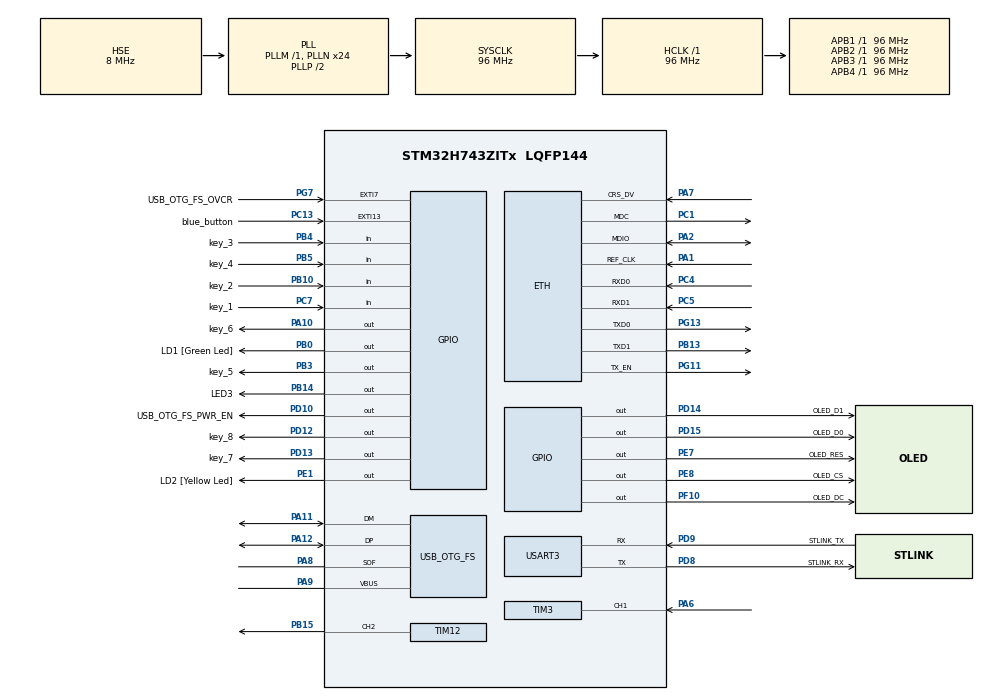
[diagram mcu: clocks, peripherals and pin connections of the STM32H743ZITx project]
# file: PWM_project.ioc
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ETH.MediaInterface=HAL_ETH_RMII_MODE
Mcu.Family=STM32H7
Mcu.Name=STM32H743ZITx
Mcu.Package=LQFP144
NVIC.EXTI15_10_IRQn=true\:0\:0\:false\:false\:true\:true\:true
NVIC.PriorityGroup=NVIC_PRIORITYGROUP_4
NVIC.TIM3_IRQn=true\:0\:0\:true\:false\:true\:true\:true
NVIC.TIM8_UP_TIM13_IRQn=true\:0\:0\:false\:false\:true\:true\:true
PA1.Mode=RMII
PA1.Signal=ETH_REF_CLK
PA10.GPIO_Label=key_6
PA10.Signal=GPIO_Output
PA11.Mode=Device_Only
PA11.Signal=USB_OTG_FS_DM
PA12.Mode=Device_Only
PA12.Signal=USB_OTG_FS_DP
PA2.Mode=RMII
PA2.Signal=ETH_MDIO
PA6.Signal=S_TIM3_CH1
PA7.Mode=RMII
PA7.Signal=ETH_CRS_DV
PA8.Mode=Activate_SOF_FS
PA8.Signal=USB_OTG_FS_SOF
PA9.Mode=Activate_VBUS
PA9.Signal=USB_OTG_FS_VBUS
PB0.GPIO_Label=LD1 [Green Led]
PB0.Signal=GPIO_Output
PB10.GPIO_Label=key_2
PB10.GPIO_PuPd=GPIO_PULLUP
PB10.Signal=GPIO_Input
PB13.Mode=RMII
PB13.Signal=ETH_TXD1
PB14.GPIO_Label=LED3
PB14.Signal=GPIO_Output
PB15.Signal=S_TIM12_CH2
PB3\ (JTDO/TRACESWO).GPIO_Label=key_5
PB3\ (JTDO/TRACESWO).Signal=GPIO_Output
PB4\ (NJTRST).GPIO_Label=key_3
PB4\ (NJTRST).GPIO_PuPd=GPIO_PULLUP
PB4\ (NJTRST).Signal=GPIO_Input
PB5.GPIO_Label=key_4
PB5.GPIO_PuPd=GPIO_PULLUP
PB5.Signal=GPIO_Input
PC1.Mode=RMII
PC1.Signal=ETH_MDC
PC13.GPIO_Label=blue_button
PC13.GPIO_PuPd=GPIO_PULLDOWN
PC13.Signal=GPXTI13
PC14-OSC32_IN\ (OSC32_IN).Mode=LSE-External-Oscillator
PC14-OSC32_IN\ (OSC32_IN).Signal=RCC_OSC32_IN
PC15-OSC32_OUT\ (OSC32_OUT).Mode=LSE-External-Oscillator
PC15-OSC32_OUT\ (OSC32_OUT).Signal=RCC_OSC32_OUT
PC4.Mode=RMII
PC4.Signal=ETH_RXD0
PC5.Mode=RMII
PC5.Signal=ETH_RXD1
PC7.GPIO_Label=key_1
PC7.GPIO_PuPd=GPIO_PULLUP
PC7.Signal=GPIO_Input
PD10.GPIO_Label=USB_OTG_FS_PWR_EN
PD10.Signal=GPIO_Output
PD12.GPIO_Label=key_8
PD12.Signal=GPIO_Output
PD13.GPIO_Label=key_7
PD13.Signal=GPIO_Output
PD14.GPIO_Label=OLED_D1
PD14.GPIO_Speed=GPIO_SPEED_FREQ_HIGH
PD14.PinState=GPIO_PIN_SET
PD14.Signal=GPIO_Output
PD15.GPIO_Label=OLED_D0
PD15.GPIO_Speed=GPIO_SPEED_FREQ_HIGH
PD15.PinState=GPIO_PIN_SET
PD15.Signal=GPIO_Output
PD8.GPIO_Label=STLINK_RX
PD8.Mode=Asynchronous
PD8.Signal=USART3_TX
PD9.GPIO_Label=STLINK_TX
PD9.Mode=Asynchronous
PD9.Signal=USART3_RX
PE1.GPIO_Label=LD2 [Yellow Led]
PE1.Signal=GPIO_Output
PE7.GPIO_Label=OLED_RES
PE7.GPIO_Speed=GPIO_SPEED_FREQ_HIGH
PE7.PinState=GPIO_PIN_SET
PE7.Signal=GPIO_Output
PE8.GPIO_Label=OLED_CS
PE8.GPIO_Speed=GPIO_SPEED_FREQ_HIGH
PE8.PinState=GPIO_PIN_SET
PE8.Signal=GPIO_Output
PF10.GPIO_Label=OLED_DC
PF10.GPIO_Speed=GPIO_SPEED_FREQ_HIGH
PF10.PinState=GPIO_PIN_SET
PF10.Signal=GPIO_Output
PG11.Mode=RMII
PG11.Signal=ETH_TX_EN
PG13.Mode=RMII
PG13.Signal=ETH_TXD0
PG7.GPIO_Label=USB_OTG_FS_OVCR
PG7.Signal=GPXTI7
PH0-OSC_IN\ (PH0).Mode=HSE-External-Clock-Source
PH0-OSC_IN\ (PH0).Signal=RCC_OSC_IN
PH1-OSC_OUT\ (PH1).Mode=HSE-External-Clock-Source
PH1-OSC_OUT\ (PH1).Signal=RCC_OSC_OUT
ProjectManager.HeapSize=0x200
ProjectManager.StackSize=0x400
ProjectManager.TargetToolchain=STM32CubeIDE
RCC.ADCFreq_Value=16125000
RCC.APB1Freq_Value=96000000
RCC.APB2Freq_Value=96000000
RCC.APB3Freq_Value=96000000
RCC.APB4Freq_Value=96000000
RCC.CortexFreq_Value=96000000
RCC.DIVM1=1
RCC.DIVN1=24
RCC.DIVQ1=4
RCC.HCLKFreq_Value=96000000
RCC.HSE_VALUE=8000000
RCC.SYSCLKFreq_VALUE=96000000
RCC.SYSCLKSource=RCC_SYSCLKSOURCE_PLLCLK
RCC.USBFreq_Value=48000000
SH.S_TIM12_CH2.0=TIM12_CH2,PWM Generation2 CH2
SH.S_TIM3_CH1.0=TIM3_CH1,Input_Capture1_from_TI1
SH.S_TIM3_CH1.1=TIM3_CH1,TriggerSource_TI1FP1
SH.S_TIM3_CH1.2=TIM3_CH1,Input_Capture2_from_TI1
TIM12.Channel-PWM\ Generation2\ CH2=TIM_CHANNEL_2
TIM12.Period=99
TIM12.Prescaler=96
TIM12.Pulse-PWM\ Generation2\ CH2=49
TIM13.Period=4999
TIM13.Prescaler=9600
TIM3.Channel-Input_Capture1_from_TI1=TIM_CHANNEL_1
TIM3.Channel-Input_Capture2_from_TI1=TIM_CHANNEL_2
TIM3.ICPolarity_CH1=TIM_INPUTCHANNELPOLARITY_RISING
TIM3.ICPolarity_CH2=TIM_INPUTCHANNELPOLARITY_FALLING
TIM3.Period=10000
TIM3.Prescaler=96
USART3.VirtualMode-Asynchronous=VM_ASYNC
USB_OTG_FS.VirtualMode=Device_Only
VP_TIM12_VS_ClockSourceINT.Mode=Internal
VP_TIM13_VS_ClockSourceINT.Mode=Enable_Timer
VP_TIM3_VS_ClockSourceINT.Mode=Internal
VP_TIM3_VS_ControllerModeReset.Mode=Reset Mode
board=NUCLEO-H743ZI2

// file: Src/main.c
/* USER CODE BEGIN Header */
/**
  ******************************************************************************
  * @file           : main.c
  * @brief          : Main program body
  ******************************************************************************
  * @attention
  *
  * <h2><center>&copy; Copyright (c) 2019 STMicroelectronics.
  * All rights reserved.</center></h2>
  *
  * This software component is licensed by ST under BSD 3-Clause license,
  * the "License"; You may not use this file except in compliance with the
  * License. You may obtain a copy of the License at:
  *                        opensource.org/licenses/BSD-3-Clause
  *
  ******************************************************************************
  */
/* USER CODE END Header */

#include "main.h"
#include "string.h"

/* USER CODE BEGIN PD */

volatile uint32_t duty = 0.0;
volatile int duty_zu[2]={0,0};
volatile uint32_t freq = 0;
volatile uint32_t tmp1 = 0;
volatile uint32_t tmp2 = 0;
volatile uint8_t Key_row[1]={0xff};   //保存按键行扫描情况的状�?�数�???
volatile uint32_t dutyset=0;
int freq_flag=0;
/* USER CODE END PD */

#if defined ( __ICCARM__ ) /*!< IAR Compiler */

#pragma location=0x30040000
ETH_DMADescTypeDef  DMARxDscrTab[ETH_RX_DESC_CNT]; /* Ethernet Rx DMA Descriptors */
#pragma location=0x30040060
ETH_DMADescTypeDef  DMATxDscrTab[ETH_TX_DESC_CNT]; /* Ethernet Tx DMA Descriptors */
#pragma location=0x30040200
uint8_t Rx_Buff[ETH_RX_DESC_CNT][ETH_MAX_PACKET_SIZE]; /* Ethernet Receive Buffers */

#elif defined ( __CC_ARM )  /* MDK ARM Compiler */

__attribute__((at(0x30040000))) ETH_DMADescTypeDef  DMARxDscrTab[ETH_RX_DESC_CNT]; /* Ethernet Rx DMA Descriptors */
__attribute__((at(0x30040060))) ETH_DMADescTypeDef  DMATxDscrTab[ETH_TX_DESC_CNT]; /* Ethernet Tx DMA Descriptors */
__attribute__((at(0x30040200))) uint8_t Rx_Buff[ETH_RX_DESC_CNT][ETH_MAX_PACKET_SIZE]; /* Ethernet Receive Buffer */

#elif defined ( __GNUC__ ) /* GNU Compiler */

ETH_DMADescTypeDef DMARxDscrTab[ETH_RX_DESC_CNT] __attribute__((section(".RxDecripSection"))); /* Ethernet Rx DMA Descriptors */
ETH_DMADescTypeDef DMATxDscrTab[ETH_TX_DESC_CNT] __attribute__((section(".TxDecripSection")));   /* Ethernet Tx DMA Descriptors */
uint8_t Rx_Buff[ETH_RX_DESC_CNT][ETH_MAX_PACKET_SIZE] __attribute__((section(".RxArraySection"))); /* Ethernet Receive Buffers */

#endif

ETH_TxPacketConfig TxConfig;

ETH_HandleTypeDef heth;

TIM_HandleTypeDef htim3;
TIM_HandleTypeDef htim12;
TIM_HandleTypeDef htim13;

UART_HandleTypeDef huart3;

PCD_HandleTypeDef hpcd_USB_OTG_FS;

void SystemClock_Config(void);
static void MX_GPIO_Init(void);
static void MX_ETH_Init(void);
static void MX_USART3_UART_Init(void);
static void MX_USB_OTG_FS_PCD_Init(void);
static void MX_TIM12_Init(void);
static void MX_TIM3_Init(void);
static void MX_TIM13_Init(void);

int main(void)
{
  /* USER CODE BEGIN 1 */
	//uint8_t dir=1;
	//uint16_t led0pwmval=0;
  /* USER CODE END 1 */

  /* MCU Configuration--------------------------------------------------------*/

  /* Reset of all peripherals, Initializes the Flash interface and the Systick. */
  HAL_Init();

  /* USER CODE BEGIN Init */
float temp1,temp2;
  /* USER CODE END Init */

  /* Configure the system clock */
  SystemClock_Config();

  /* Initialize all configured peripherals */
  MX_GPIO_Init();
  MX_ETH_Init();
  MX_USART3_UART_Init();
  MX_USB_OTG_FS_PCD_Init();
  MX_TIM12_Init();
  MX_TIM3_Init();
  MX_TIM13_Init();
  /* USER CODE BEGIN 2 */
  HAL_TIM_PWM_Start(&htim12,TIM_CHANNEL_2);
  HAL_TIM_IC_Start_IT(&htim3, TIM_CHANNEL_1);   //TIM3输入出发使能
  HAL_TIM_IC_Start_IT(&htim3, TIM_CHANNEL_2);
  HAL_TIM_Base_Start_IT(&htim13);

  delay_init();
  NVIC_Configuration();
  OLED_Init();
  OLED_Clear()  	;

  /* USER CODE END 2 */

  /* Infinite loop */
  while (1)
  {

    /* USER CODE BEGIN 3 */
	  //TIM_SetTIM12Changefrequency2(49,99);//10kHz
	  //HAL_Delay(1000);
/*	  TIM_SetTIM12Changefrequency2(20,99);//10kHz
	  delay_ms(1000);
	  TIM_SetTIM12Changefrequency2(80,99);//10kHz
	  delay_ms(1000);*/

	 /* temp1=duty;
	  temp2=freq;*/
	  //HAL_Delay(1000);

  }
  /* USER CODE END 3 */
}

void SystemClock_Config(void)
{
  RCC_OscInitTypeDef RCC_OscInitStruct = {0};
  RCC_ClkInitTypeDef RCC_ClkInitStruct = {0};
  RCC_PeriphCLKInitTypeDef PeriphClkInitStruct = {0};

  /** Supply configuration update enable
  */
  HAL_PWREx_ConfigSupply(PWR_LDO_SUPPLY);
  /** Configure the main internal regulator output voltage
  */
  __HAL_PWR_VOLTAGESCALING_CONFIG(PWR_REGULATOR_VOLTAGE_SCALE3);

  while(!__HAL_PWR_GET_FLAG(PWR_FLAG_VOSRDY)) {}
  /** Initializes the CPU, AHB and APB busses clocks
  */
  RCC_OscInitStruct.OscillatorType = RCC_OSCILLATORTYPE_HSE;
  RCC_OscInitStruct.HSEState = RCC_HSE_BYPASS;
  RCC_OscInitStruct.PLL.PLLState = RCC_PLL_ON;
  RCC_OscInitStruct.PLL.PLLSource = RCC_PLLSOURCE_HSE;
  RCC_OscInitStruct.PLL.PLLM = 1;
  RCC_OscInitStruct.PLL.PLLN = 24;
  RCC_OscInitStruct.PLL.PLLP = 2;
  RCC_OscInitStruct.PLL.PLLQ = 4;
  RCC_OscInitStruct.PLL.PLLR = 2;
  RCC_OscInitStruct.PLL.PLLRGE = RCC_PLL1VCIRANGE_3;
  RCC_OscInitStruct.PLL.PLLVCOSEL = RCC_PLL1VCOWIDE;
  RCC_OscInitStruct.PLL.PLLFRACN = 0;
  if (HAL_RCC_OscConfig(&RCC_OscInitStruct) != HAL_OK)
  {
    Error_Handler();
  }
  /** Initializes the CPU, AHB and APB busses clocks
  */
  RCC_ClkInitStruct.ClockType = RCC_CLOCKTYPE_HCLK|RCC_CLOCKTYPE_SYSCLK
                              |RCC_CLOCKTYPE_PCLK1|RCC_CLOCKTYPE_PCLK2
                              |RCC_CLOCKTYPE_D3PCLK1|RCC_CLOCKTYPE_D1PCLK1;
  RCC_ClkInitStruct.SYSCLKSource = RCC_SYSCLKSOURCE_PLLCLK;
  RCC_ClkInitStruct.SYSCLKDivider = RCC_SYSCLK_DIV1;
  RCC_ClkInitStruct.AHBCLKDivider = RCC_HCLK_DIV1;
  RCC_ClkInitStruct.APB3CLKDivider = RCC_APB3_DIV1;
  RCC_ClkInitStruct.APB1CLKDivider = RCC_APB1_DIV1;
  RCC_ClkInitStruct.APB2CLKDivider = RCC_APB2_DIV1;
  RCC_ClkInitStruct.APB4CLKDivider = RCC_APB4_DIV1;

  if (HAL_RCC_ClockConfig(&RCC_ClkInitStruct, FLASH_LATENCY_1) != HAL_OK)
  {
    Error_Handler();
  }
  PeriphClkInitStruct.PeriphClockSelection = RCC_PERIPHCLK_USART3|RCC_PERIPHCLK_USB;
  PeriphClkInitStruct.Usart234578ClockSelection = RCC_USART234578CLKSOURCE_D2PCLK1;
  PeriphClkInitStruct.UsbClockSelection = RCC_USBCLKSOURCE_PLL;
  if (HAL_RCCEx_PeriphCLKConfig(&PeriphClkInitStruct) != HAL_OK)
  {
    Error_Handler();
  }
  /** Enable USB Voltage detector
  */
  HAL_PWREx_EnableUSBVoltageDetector();
}

static void MX_ETH_Init(void)
{

   uint8_t MACAddr[6] ;

  heth.Instance = ETH;
  MACAddr[0] = 0x00;
  MACAddr[1] = 0x80;
  MACAddr[2] = 0xE1;
  MACAddr[3] = 0x00;
  MACAddr[4] = 0x00;
  MACAddr[5] = 0x00;
  heth.Init.MACAddr = &MACAddr[0];
  heth.Init.MediaInterface = HAL_ETH_RMII_MODE;
  heth.Init.TxDesc = DMATxDscrTab;
  heth.Init.RxDesc = DMARxDscrTab;
  heth.Init.RxBuffLen = 1524;

  if (HAL_ETH_Init(&heth) != HAL_OK)
  {
    Error_Handler();
  }

  memset(&TxConfig, 0 , sizeof(ETH_TxPacketConfig));
  TxConfig.Attributes = ETH_TX_PACKETS_FEATURES_CSUM | ETH_TX_PACKETS_FEATURES_CRCPAD;
  TxConfig.ChecksumCtrl = ETH_CHECKSUM_IPHDR_PAYLOAD_INSERT_PHDR_CALC;
  TxConfig.CRCPadCtrl = ETH_CRC_PAD_INSERT;

}

static void MX_TIM3_Init(void)
{

  TIM_ClockConfigTypeDef sClockSourceConfig = {0};
  TIM_SlaveConfigTypeDef sSlaveConfig = {0};
  TIM_MasterConfigTypeDef sMasterConfig = {0};
  TIM_IC_InitTypeDef sConfigIC = {0};

  htim3.Instance = TIM3;
  htim3.Init.Prescaler = 96;
  htim3.Init.CounterMode = TIM_COUNTERMODE_UP;
  htim3.Init.Period = 10000;
  htim3.Init.ClockDivision = TIM_CLOCKDIVISION_DIV1;
  htim3.Init.AutoReloadPreload = TIM_AUTORELOAD_PRELOAD_DISABLE;
  if (HAL_TIM_Base_Init(&htim3) != HAL_OK)
  {
    Error_Handler();
  }
  sClockSourceConfig.ClockSource = TIM_CLOCKSOURCE_INTERNAL;
  if (HAL_TIM_ConfigClockSource(&htim3, &sClockSourceConfig) != HAL_OK)
  {
    Error_Handler();
  }
  if (HAL_TIM_IC_Init(&htim3) != HAL_OK)
  {
    Error_Handler();
  }
  sSlaveConfig.SlaveMode = TIM_SLAVEMODE_RESET;
  sSlaveConfig.InputTrigger = TIM_TS_TI1FP1;
  sSlaveConfig.TriggerPolarity = TIM_INPUTCHANNELPOLARITY_RISING;
  sSlaveConfig.TriggerFilter = 0;
  if (HAL_TIM_SlaveConfigSynchro(&htim3, &sSlaveConfig) != HAL_OK)
  {
    Error_Handler();
  }
  sMasterConfig.MasterOutputTrigger = TIM_TRGO_RESET;
  sMasterConfig.MasterSlaveMode = TIM_MASTERSLAVEMODE_DISABLE;
  if (HAL_TIMEx_MasterConfigSynchronization(&htim3, &sMasterConfig) != HAL_OK)
  {
    Error_Handler();
  }
  sConfigIC.ICPolarity = TIM_INPUTCHANNELPOLARITY_RISING;
  sConfigIC.ICSelection = TIM_ICSELECTION_DIRECTTI;
  sConfigIC.ICPrescaler = TIM_ICPSC_DIV1;
  sConfigIC.ICFilter = 0;
  if (HAL_TIM_IC_ConfigChannel(&htim3, &sConfigIC, TIM_CHANNEL_1) != HAL_OK)
  {
    Error_Handler();
  }
  sConfigIC.ICPolarity = TIM_INPUTCHANNELPOLARITY_FALLING;
  sConfigIC.ICSelection = TIM_ICSELECTION_INDIRECTTI;
  if (HAL_TIM_IC_ConfigChannel(&htim3, &sConfigIC, TIM_CHANNEL_2) != HAL_OK)
  {
    Error_Handler();
  }

}

static void MX_TIM12_Init(void)
{

  TIM_ClockConfigTypeDef sClockSourceConfig = {0};
  TIM_OC_InitTypeDef sConfigOC = {0};

  htim12.Instance = TIM12;
  htim12.Init.Prescaler = 96;
  htim12.Init.CounterMode = TIM_COUNTERMODE_UP;
  htim12.Init.Period = 99;
  htim12.Init.ClockDivision = TIM_CLOCKDIVISION_DIV1;
  htim12.Init.AutoReloadPreload = TIM_AUTORELOAD_PRELOAD_DISABLE;
  if (HAL_TIM_Base_Init(&htim12) != HAL_OK)
  {
    Error_Handler();
  }
  sClockSourceConfig.ClockSource = TIM_CLOCKSOURCE_INTERNAL;
  if (HAL_TIM_ConfigClockSource(&htim12, &sClockSourceConfig) != HAL_OK)
  {
    Error_Handler();
  }
  if (HAL_TIM_PWM_Init(&htim12) != HAL_OK)
  {
    Error_Handler();
  }
  sConfigOC.OCMode = TIM_OCMODE_PWM1;
  sConfigOC.Pulse = 49;
  sConfigOC.OCPolarity = TIM_OCPOLARITY_HIGH;
  sConfigOC.OCFastMode = TIM_OCFAST_DISABLE;
  if (HAL_TIM_PWM_ConfigChannel(&htim12, &sConfigOC, TIM_CHANNEL_2) != HAL_OK)
  {
    Error_Handler();
  }
  HAL_TIM_MspPostInit(&htim12);

}

static void MX_TIM13_Init(void)
{

  htim13.Instance = TIM13;
  htim13.Init.Prescaler = 9600;
  htim13.Init.CounterMode = TIM_COUNTERMODE_UP;
  htim13.Init.Period = 4999;
  htim13.Init.ClockDivision = TIM_CLOCKDIVISION_DIV1;
  htim13.Init.AutoReloadPreload = TIM_AUTORELOAD_PRELOAD_DISABLE;
  if (HAL_TIM_Base_Init(&htim13) != HAL_OK)
  {
    Error_Handler();
  }

}

static void MX_USART3_UART_Init(void)
{

  huart3.Instance = USART3;
  huart3.Init.BaudRate = 115200;
  huart3.Init.WordLength = UART_WORDLENGTH_8B;
  huart3.Init.StopBits = UART_STOPBITS_1;
  huart3.Init.Parity = UART_PARITY_NONE;
  huart3.Init.Mode = UART_MODE_TX_RX;
  huart3.Init.HwFlowCtl = UART_HWCONTROL_NONE;
  huart3.Init.OverSampling = UART_OVERSAMPLING_16;
  huart3.Init.OneBitSampling = UART_ONE_BIT_SAMPLE_DISABLE;
  huart3.Init.ClockPrescaler = UART_PRESCALER_DIV1;
  huart3.AdvancedInit.AdvFeatureInit = UART_ADVFEATURE_NO_INIT;
  if (HAL_UART_Init(&huart3) != HAL_OK)
  {
    Error_Handler();
  }
  if (HAL_UARTEx_SetTxFifoThreshold(&huart3, UART_TXFIFO_THRESHOLD_1_8) != HAL_OK)
  {
    Error_Handler();
  }
  if (HAL_UARTEx_SetRxFifoThreshold(&huart3, UART_RXFIFO_THRESHOLD_1_8) != HAL_OK)
  {
    Error_Handler();
  }
  if (HAL_UARTEx_DisableFifoMode(&huart3) != HAL_OK)
  {
    Error_Handler();
  }

}

static void MX_USB_OTG_FS_PCD_Init(void)
{

  hpcd_USB_OTG_FS.Instance = USB_OTG_FS;
  hpcd_USB_OTG_FS.Init.dev_endpoints = 9;
  hpcd_USB_OTG_FS.Init.speed = PCD_SPEED_FULL;
  hpcd_USB_OTG_FS.Init.dma_enable = DISABLE;
  hpcd_USB_OTG_FS.Init.phy_itface = PCD_PHY_EMBEDDED;
  hpcd_USB_OTG_FS.Init.Sof_enable = ENABLE;
  hpcd_USB_OTG_FS.Init.low_power_enable = DISABLE;
  hpcd_USB_OTG_FS.Init.lpm_enable = DISABLE;
  hpcd_USB_OTG_FS.Init.battery_charging_enable = ENABLE;
  hpcd_USB_OTG_FS.Init.vbus_sensing_enable = ENABLE;
  hpcd_USB_OTG_FS.Init.use_dedicated_ep1 = DISABLE;
  if (HAL_PCD_Init(&hpcd_USB_OTG_FS) != HAL_OK)
  {
    Error_Handler();
  }

}

static void MX_GPIO_Init(void)
{
  GPIO_InitTypeDef GPIO_InitStruct = {0};

  /* GPIO Ports Clock Enable */
  __HAL_RCC_GPIOC_CLK_ENABLE();
  __HAL_RCC_GPIOF_CLK_ENABLE();
  __HAL_RCC_GPIOH_CLK_ENABLE();
  __HAL_RCC_GPIOA_CLK_ENABLE();
  __HAL_RCC_GPIOB_CLK_ENABLE();
  __HAL_RCC_GPIOE_CLK_ENABLE();
  __HAL_RCC_GPIOD_CLK_ENABLE();
  __HAL_RCC_GPIOG_CLK_ENABLE();

  /*Configure GPIO pin Output Level */
  HAL_GPIO_WritePin(OLED_DC_GPIO_Port, OLED_DC_Pin, GPIO_PIN_SET);

  /*Configure GPIO pin Output Level */
  HAL_GPIO_WritePin(GPIOB, LD1_Pin|LED3_Pin|key_5_Pin, GPIO_PIN_RESET);

  /*Configure GPIO pin Output Level */
  HAL_GPIO_WritePin(GPIOE, OLED_RES_Pin|OLED_CS_Pin, GPIO_PIN_SET);

  /*Configure GPIO pin Output Level */
  HAL_GPIO_WritePin(GPIOD, USB_OTG_FS_PWR_EN_Pin|key_8_Pin|key_7_Pin, GPIO_PIN_RESET);

  /*Configure GPIO pin Output Level */
  HAL_GPIO_WritePin(GPIOD, OLED_D1_Pin|OLED_D0_Pin, GPIO_PIN_SET);

  /*Configure GPIO pin Output Level */
  HAL_GPIO_WritePin(key_6_GPIO_Port, key_6_Pin, GPIO_PIN_RESET);

  /*Configure GPIO pin Output Level */
  HAL_GPIO_WritePin(LD2_GPIO_Port, LD2_Pin, GPIO_PIN_RESET);

  /*Configure GPIO pin : blue_button_Pin */
  GPIO_InitStruct.Pin = blue_button_Pin;
  GPIO_InitStruct.Mode = GPIO_MODE_IT_RISING;
  GPIO_InitStruct.Pull = GPIO_PULLDOWN;
  HAL_GPIO_Init(blue_button_GPIO_Port, &GPIO_InitStruct);

  /*Configure GPIO pin : OLED_DC_Pin */
  GPIO_InitStruct.Pin = OLED_DC_Pin;
  GPIO_InitStruct.Mode = GPIO_MODE_OUTPUT_PP;
  GPIO_InitStruct.Pull = GPIO_NOPULL;
  GPIO_InitStruct.Speed = GPIO_SPEED_FREQ_HIGH;
  HAL_GPIO_Init(OLED_DC_GPIO_Port, &GPIO_InitStruct);

  /*Configure GPIO pins : LD1_Pin LED3_Pin key_5_Pin */
  GPIO_InitStruct.Pin = LD1_Pin|LED3_Pin|key_5_Pin;
  GPIO_InitStruct.Mode = GPIO_MODE_OUTPUT_PP;
  GPIO_InitStruct.Pull = GPIO_NOPULL;
  GPIO_InitStruct.Speed = GPIO_SPEED_FREQ_LOW;
  HAL_GPIO_Init(GPIOB, &GPIO_InitStruct);

  /*Configure GPIO pins : OLED_RES_Pin OLED_CS_Pin */
  GPIO_InitStruct.Pin = OLED_RES_Pin|OLED_CS_Pin;
  GPIO_InitStruct.Mode = GPIO_MODE_OUTPUT_PP;
  GPIO_InitStruct.Pull = GPIO_NOPULL;
  GPIO_InitStruct.Speed = GPIO_SPEED_FREQ_HIGH;
  HAL_GPIO_Init(GPIOE, &GPIO_InitStruct);

  /*Configure GPIO pins : key_2_Pin key_3_Pin key_4_Pin */
  GPIO_InitStruct.Pin = key_2_Pin|key_3_Pin|key_4_Pin;
  GPIO_InitStruct.Mode = GPIO_MODE_INPUT;
  GPIO_InitStruct.Pull = GPIO_PULLUP;
  HAL_GPIO_Init(GPIOB, &GPIO_InitStruct);

  /*Configure GPIO pins : USB_OTG_FS_PWR_EN_Pin key_8_Pin key_7_Pin */
  GPIO_InitStruct.Pin = USB_OTG_FS_PWR_EN_Pin|key_8_Pin|key_7_Pin;
  GPIO_InitStruct.Mode = GPIO_MODE_OUTPUT_PP;
  GPIO_InitStruct.Pull = GPIO_NOPULL;
  GPIO_InitStruct.Speed = GPIO_SPEED_FREQ_LOW;
  HAL_GPIO_Init(GPIOD, &GPIO_InitStruct);

  /*Configure GPIO pins : OLED_D1_Pin OLED_D0_Pin */
  GPIO_InitStruct.Pin = OLED_D1_Pin|OLED_D0_Pin;
  GPIO_InitStruct.Mode = GPIO_MODE_OUTPUT_PP;
  GPIO_InitStruct.Pull = GPIO_NOPULL;
  GPIO_InitStruct.Speed = GPIO_SPEED_FREQ_HIGH;
  HAL_GPIO_Init(GPIOD, &GPIO_InitStruct);

  /*Configure GPIO pin : USB_OTG_FS_OVCR_Pin */
  GPIO_InitStruct.Pin = USB_OTG_FS_OVCR_Pin;
  GPIO_InitStruct.Mode = GPIO_MODE_IT_RISING;
  GPIO_InitStruct.Pull = GPIO_NOPULL;
  HAL_GPIO_Init(USB_OTG_FS_OVCR_GPIO_Port, &GPIO_InitStruct);

  /*Configure GPIO pin : key_1_Pin */
  GPIO_InitStruct.Pin = key_1_Pin;
  GPIO_InitStruct.Mode = GPIO_MODE_INPUT;
  GPIO_InitStruct.Pull = GPIO_PULLUP;
  HAL_GPIO_Init(key_1_GPIO_Port, &GPIO_InitStruct);

  /*Configure GPIO pin : key_6_Pin */
  GPIO_InitStruct.Pin = key_6_Pin;
  GPIO_InitStruct.Mode = GPIO_MODE_OUTPUT_PP;
  GPIO_InitStruct.Pull = GPIO_NOPULL;
  GPIO_InitStruct.Speed = GPIO_SPEED_FREQ_LOW;
  HAL_GPIO_Init(key_6_GPIO_Port, &GPIO_InitStruct);

  /*Configure GPIO pin : LD2_Pin */
  GPIO_InitStruct.Pin = LD2_Pin;
  GPIO_InitStruct.Mode = GPIO_MODE_OUTPUT_PP;
  GPIO_InitStruct.Pull = GPIO_NOPULL;
  GPIO_InitStruct.Speed = GPIO_SPEED_FREQ_LOW;
  HAL_GPIO_Init(LD2_GPIO_Port, &GPIO_InitStruct);

  /* EXTI interrupt init*/
  HAL_NVIC_SetPriority(EXTI15_10_IRQn, 0, 0);
  HAL_NVIC_EnableIRQ(EXTI15_10_IRQn);

}

/* USER CODE BEGIN 4 */
/**
 * TIM12CH2
 * 设置占空�??????????????
 */
void TIM_SetTIM12Changefrequency2(uint32_t compare,uint32_t frequency)
{
	TIM12->CCR2=compare;
	TIM12->ARR=frequency;
}
/**
 * 获取占空�????????????
 */
float getduty()
{
	duty = tmp2 * 100.0f / tmp1 + 0.5f;
	return duty;
}
/**
 * 获取频率
 */
void getfreq()
{
	freq = 90000000.0f / tmp1;

}

void HAL_TIM_IC_CaptureCallback(TIM_HandleTypeDef *htim)
{
	//volatile static uint32_t _tmp1 = 0, _tmp2 = 0;
	tmp1;
	    if (htim->Channel == HAL_TIM_ACTIVE_CHANNEL_1)
	    {
	        tmp1 = HAL_TIM_ReadCapturedValue(&htim3, TIM_CHANNEL_1);//周期
	        if(tmp1!=0)
	        {
	        	freq=1000000/tmp1;
	        	duty=tmp2*100/tmp1;
	        }
	        else
	        {
	        	duty=0;
	        	freq=0;
	        }
	    }
	    else if (htim->Channel == HAL_TIM_ACTIVE_CHANNEL_2)
	    {
	        tmp2 = HAL_TIM_ReadCapturedValue(&htim3, TIM_CHANNEL_2);//占空�????????????

	    }
}

void HAL_TIM_PeriodElapsedCallback(TIM_HandleTypeDef *htim)//oled显示屏显示中断
{
	if(htim==(&htim13))
	{
		OLED_ShowNum(64,5,duty,3,16);
		OLED_ShowNum(5,5,freq,7,16);

	}
}

void HAL_GPIO_EXTI_Callback(uint16_t GPIO_Pin)
{
	dutyset=dutyset+10;
	if(freq_flag)
	{
		TIM_SetTIM12Changefrequency2(dutyset*10,999);
	}
	else{
	TIM_SetTIM12Changefrequency2(dutyset,99);
	}
	if(dutyset==90)
	{
		dutyset=0;
		freq_flag=~freq_flag;
	}
}

/* USER CODE END 4 */

void Error_Handler(void)
{
}

/************************ (C) COPYRIGHT STMicroelectronics *****END OF FILE****/
